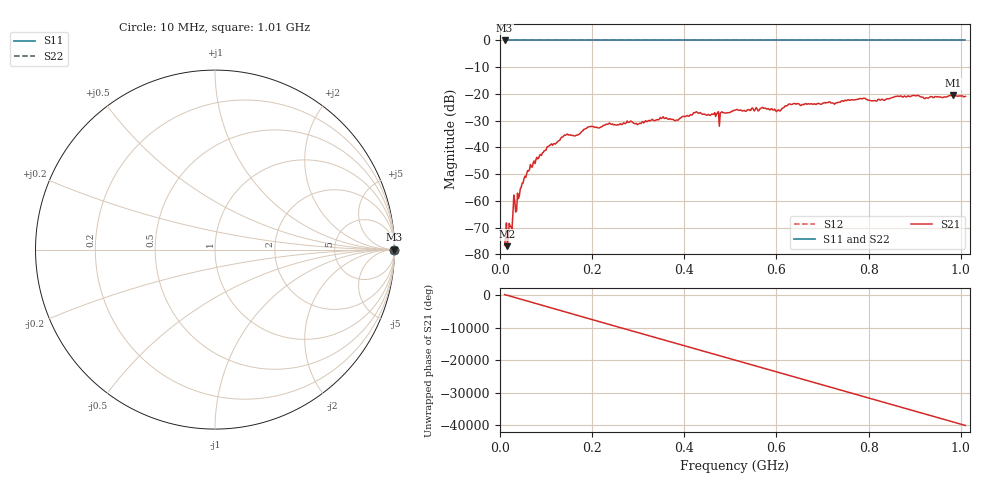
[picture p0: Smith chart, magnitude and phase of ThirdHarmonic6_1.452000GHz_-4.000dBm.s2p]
! 8/16/2025 4:50:14 PM
! C:\ANRITSUVNA\TEMP\TEMP.S2P
! CHANNEL.1
! TR.MEASUREMENT
! RAW.DATA
! RF.CORRECTION.OFF
! AVERAGING.OFF
! IF.BANDWIDTH: 5KHZ
! SWEEPTYPE:  FREQ.SWEEP(Linear)
! Reference Plane Port Info
! PORT:  PORT1  PORT2
! DISTANCE:  0  m  0  m
! TIME:  0  s  0  s
! PHASE.OFFSET:  0  deg.  0  deg.
! LOSS:  0  dB  0  dB
! REF.LOSS:  0  dB  0  dB
! REF.FREQ:  0  Hz  0  Hz
! Power Info
! POWER:  -20  dBm  -20  dBm
! EFF.POWER:  -20  dBm  -20  dBm
! SOURCE.ATTEN:  0  dB  0  dB
! TEST.ATTEN:  0  dB  0  dB
# GHZ S RI R 50.0
! FREQ.GHZ  S11RE  S11IM  S21RE  S21IM  S12RE  S12IM  S22RE  S22IM
!; PortSelection: Port_12
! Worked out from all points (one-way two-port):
!   501 points, 10 MHz to 1.01 GHz, reference 50 ohm
!   highest |S21| = -20.47 dB at 984 MHz (marker M1); lowest = -77.0 dB at 16 MHz (marker M2)
!   lowest |S11| = 0.0 dB at 10 MHz (marker M3)
!   |S11| at or under -10 dB: nowhere
!   |S22| runs from 0.0 to 0.0 dB; largest |S21 - S12| = 1.1
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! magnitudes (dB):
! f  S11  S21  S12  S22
! 10 MHz  0.0  -76.7  0.0  0.0
! 16 MHz  0.0  -77.0  0.0  0.0
! 20 MHz  0.0  -68.5  0.0  0.0
! 34 MHz  0.0  -64.2  0.0  0.0
! 38 MHz  0.0  -57.1  0.0  0.0
! 48 MHz  0.0  -53.5  0.0  0.0
! 70 MHz  0.0  -47.4  0.0  0.0
! 106 MHz  0.0  -39.5  0.0  0.0
! 136 MHz  0.0  -36.2  0.0  0.0
! 178 MHz  0.0  -34.0  0.0  0.0
! 196 MHz  0.0  -32.2  0.0  0.0
! 344 MHz  0.0  -29.7  0.0  0.0
! 382 MHz  0.0  -29.8  0.0  0.0
! 424 MHz  0.0  -27.0  0.0  0.0
! 472 MHz  0.0  -27.1  0.0  0.0
! 510 MHz  0.0  -26.0  0.0  0.0
! 604 MHz  0.0  -25.9  0.0  0.0
! 630 MHz  0.0  -23.9  0.0  0.0
! 678 MHz  0.0  -23.9  0.0  0.0
! 844 MHz  0.0  -21.8  0.0  0.0
! 984 MHz  0.0  -20.5  0.0  0.0
! 1.01 GHz  0.0  -20.9  0.0  0.0
